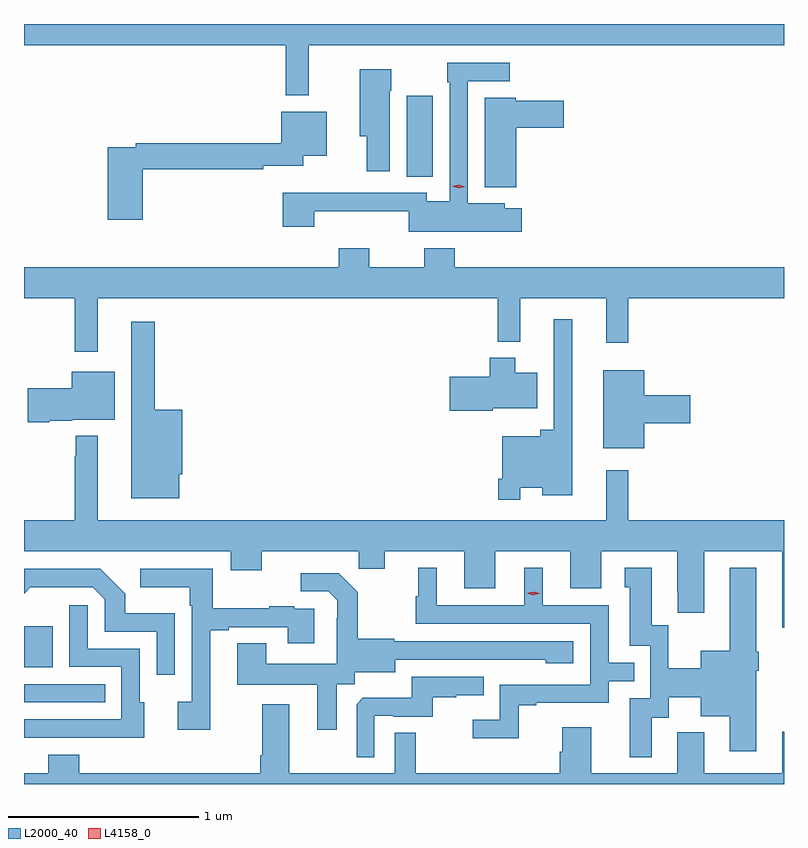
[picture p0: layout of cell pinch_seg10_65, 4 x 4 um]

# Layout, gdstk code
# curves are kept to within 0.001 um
import gdstk
lib = gdstk.Library(unit=1e-6, precision=1e-09)
def R(c, l, rs):  # rectangles x0, y0, x1, y1
    for r in rs: c.add(gdstk.rectangle(r[:2], r[2:], *l))
def P(c, l, *ps):  # polygons
    for p in ps: c.add(gdstk.Polygon(p, *l))
L2000_40 = (2000, 40)
L4158_0 = (4158, 0)

pinch_seg10_65 = lib.new_cell('pinch_seg10_65')
R(pinch_seg10_65, L2000_40, [(832,1323.498,832.427,1323.594), (832,1323.683,832.15,1323.898), (834.014,1326.265,834.151,1326.691)])
P(pinch_seg10_65, L2000_40, [(832,1326.956),(833.377,1326.956),(833.377,1326.693),(833.498,1326.693),(833.498,1326.956),(836,1326.956),(836,1327.068),(832,1327.068)],
  [(834.619,1326.097),(834.531,1326.097),(834.531,1326.124),(834.336,1326.124),(834.336,1326.768),(834.556,1326.768),(834.556,1326.864),(834.228,1326.864),(834.228,1326.761),(834.24,1326.761),(834.24,1326.136),(834.12,1326.136),(834.12,1326.18),(833.611,1326.18),(833.611,1326.181),(833.363,1326.181),(833.363,1326),(833.528,1326),(833.528,1326.083),(834.024,1326.083),(834.024,1325.975),(834.619,1325.975)],
  [(833.926,1326.716),(833.934,1326.716),(833.934,1326.829),(833.768,1326.829),(833.768,1326.476),(833.804,1326.476),(833.804,1326.294),(833.926,1326.294)],
  [(834.592,1326.521),(834.841,1326.521),(834.841,1326.663),(834.588,1326.663),(834.588,1326.679),(834.425,1326.679),(834.425,1326.209),(834.592,1326.209)],
  [(832.625,1326.304),(833.258,1326.304),(833.258,1326.323),(833.47,1326.323),(833.47,1326.374),(833.593,1326.374),(833.593,1326.607),(833.354,1326.607),(833.354,1326.44),(832.588,1326.44),(832.588,1326.42),(832.442,1326.42),(832.442,1326.039),(832.625,1326.039)],
  [(832.387,1325.624),(834.493,1325.624),(834.493,1325.396),(834.611,1325.396),(834.611,1325.624),(835.064,1325.624),(835.064,1325.391),(835.181,1325.391),(835.181,1325.624),(836,1325.624),(836,1325.788),(834.266,1325.788),(834.266,1325.887),(834.106,1325.887),(834.106,1325.788),(833.817,1325.788),(833.817,1325.887),(833.657,1325.887),(833.657,1325.788),(832,1325.788),(832,1325.624),(832.266,1325.624),(832.266,1325.343),(832.387,1325.343)],
  [(834.612,1324.628),(834.728,1324.628),(834.728,1324.589),(834.886,1324.589),(834.886,1325.515),(834.789,1325.515),(834.789,1324.933),(834.716,1324.933),(834.716,1324.897),(834.516,1324.897),(834.516,1324.675),(834.496,1324.675),(834.496,1324.563),(834.612,1324.563)],
  [(832.816,1324.698),(832.834,1324.698),(832.834,1325.038),(832.687,1325.038),(832.687,1325.5),(832.565,1325.5),(832.565,1324.571),(832.816,1324.571)],
  [(834.468,1325.045),(834.7,1325.045),(834.7,1325.233),(834.586,1325.233),(834.586,1325.311),(834.452,1325.311),(834.452,1325.211),(834.24,1325.211),(834.24,1325.033),(834.468,1325.033)],
  [(835.264,1324.967),(835.507,1324.967),(835.507,1325.114),(835.264,1325.114),(835.264,1325.245),(835.049,1325.245),(835.049,1324.835),(835.264,1324.835)],
  [(832.132,1324.979),(832.254,1324.979),(832.254,1324.985),(832.477,1324.985),(832.477,1325.239),(832.25,1325.239),(832.25,1325.151),(832.02,1325.151),(832.02,1324.973),(832.132,1324.973)],
  [(836,1324.456),(835.181,1324.456),(835.181,1324.72),(835.064,1324.72),(835.064,1324.456),(832.387,1324.456),(832.387,1324.9),(832.273,1324.9),(832.273,1324.793),(832.266,1324.793),(832.266,1324.456),(832,1324.456),(832,1324.292),(833.087,1324.292),(833.087,1324.193),(833.251,1324.193),(833.251,1324.292),(833.761,1324.292),(833.761,1324.202),(833.899,1324.202),(833.899,1324.292),(834.317,1324.292),(834.317,1324.098),(834.481,1324.098),(834.481,1324.292),(834.875,1324.292),(834.875,1324.098),(835.039,1324.098),(835.039,1324.292),(835.439,1324.292),(835.439,1324.081),(835.44,1324.081),(835.44,1323.969),(835.579,1323.969),(835.579,1324.292),(835.991,1324.292),(835.991,1323.891),(836,1323.891)],
  [(835.303,1323.418),(835.393,1323.418),(835.393,1323.524),(835.562,1323.524),(835.562,1323.425),(835.715,1323.425),(835.715,1323.24),(835.855,1323.24),(835.855,1323.665),(835.868,1323.665),(835.868,1323.765),(835.855,1323.765),(835.855,1324.207),(835.715,1324.207),(835.715,1323.769),(835.562,1323.769),(835.562,1323.676),(835.392,1323.676),(835.392,1323.903),(835.303,1323.903),(835.303,1324.207),(835.163,1324.207),(835.163,1324.104),(835.187,1324.104),(835.187,1323.795),(835.296,1323.795),(835.296,1323.519),(835.187,1323.519),(835.187,1323.21),(835.303,1323.21)],
  [(834.603,1323.483),(834.697,1323.483),(834.697,1323.495),(835.077,1323.495),(835.077,1323.609),(835.211,1323.609),(835.211,1323.705),(835.077,1323.705),(835.077,1324.008),(834.73,1324.008),(834.73,1324.207),(834.632,1324.207),(834.632,1324.008),(834.172,1324.008),(834.172,1324.207),(834.074,1324.207),(834.074,1324.056),(834.063,1324.056),(834.063,1323.912),(834.981,1323.912),(834.981,1323.591),(834.504,1323.591),(834.504,1323.406),(834.363,1323.406),(834.363,1323.308),(834.603,1323.308)],
  [(832.981,1323.876),(833.077,1323.876),(833.077,1323.894),(833.387,1323.894),(833.387,1323.81),(833.527,1323.81),(833.527,1323.99),(833.423,1323.99),(833.423,1324.003),(833.291,1324.003),(833.291,1323.992),(832.993,1323.992),(832.993,1324.2),(832.611,1324.2),(832.611,1324.103),(832.872,1324.103),(832.872,1324.007),(832.884,1324.007),(832.884,1323.502),(832.809,1323.502),(832.809,1323.354),(832.981,1323.354)],
  [(832.794,1323.967),(832.533,1323.967),(832.533,1324.07),(832.402,1324.2),(832,1324.2),(832,1324.069),(832.034,1324.103),(832.362,1324.104),(832.425,1324.041),(832.425,1323.87),(832.698,1323.87),(832.698,1323.642),(832.794,1323.642)],
  [(833.647,1323.592),(833.742,1323.592),(833.742,1323.656),(833.953,1323.656),(833.953,1323.723),(834.747,1323.722),(834.747,1323.704),(834.892,1323.704),(834.892,1323.819),(833.949,1323.819),(833.949,1323.832),(833.757,1323.832),(833.757,1324.077),(833.657,1324.177),(833.457,1324.177),(833.457,1324.083),(833.601,1324.083),(833.648,1324.036),(833.648,1323.941),(833.646,1323.941),(833.646,1323.7),(833.275,1323.7),(833.275,1323.809),(833.123,1323.809),(833.123,1323.59),(833.543,1323.59),(833.543,1323.354),(833.647,1323.354)],
  [(832.633,1323.498),(832.608,1323.498),(832.608,1323.78),(832.335,1323.78),(832.335,1324.009),(832.239,1324.009),(832.239,1323.684),(832.512,1323.684),(832.512,1323.408),(832,1323.408),(832,1323.312),(832.415,1323.312),(832.415,1323.311),(832.633,1323.311)],
  [(833.844,1323.426),(833.944,1323.426),(833.944,1323.423),(834.152,1323.423),(834.152,1323.525),(834.275,1323.525),(834.275,1323.536),(834.419,1323.536),(834.419,1323.633),(834.042,1323.633),(834.042,1323.521),(833.783,1323.521),(833.751,1323.489),(833.751,1323.209),(833.844,1323.209)],
  [(832.127,1323.223),(832.127,1323.124),(832,1323.124),(832,1323.068),(836,1323.068),(836,1323.343),(835.991,1323.343),(835.991,1323.124),(835.579,1323.124),(835.579,1323.34),(835.439,1323.34),(835.439,1323.124),(834.985,1323.124),(834.985,1323.367),(834.833,1323.367),(834.833,1323.237),(834.821,1323.237),(834.821,1323.124),(834.061,1323.124),(834.061,1323.338),(833.952,1323.338),(833.952,1323.124),(833.395,1323.124),(833.395,1323.487),(833.255,1323.487),(833.255,1323.22),(833.243,1323.22),(833.243,1323.124),(832.291,1323.124),(832.291,1323.223)])
P(pinch_seg10_65, L4158_0, [(834.681,1324.061),(834.645,1324.071),(834.645,1324.071),(834.645,1324.071),(834.681,1324.081),(834.717,1324.071),(834.717,1324.071),(834.717,1324.071)],
  [(834.287,1326.203),(834.253,1326.214),(834.252,1326.214),(834.253,1326.214),(834.288,1326.223),(834.322,1326.212),(834.323,1326.212),(834.322,1326.212)])

lib.write_gds('pinch_seg10_65.gds')
